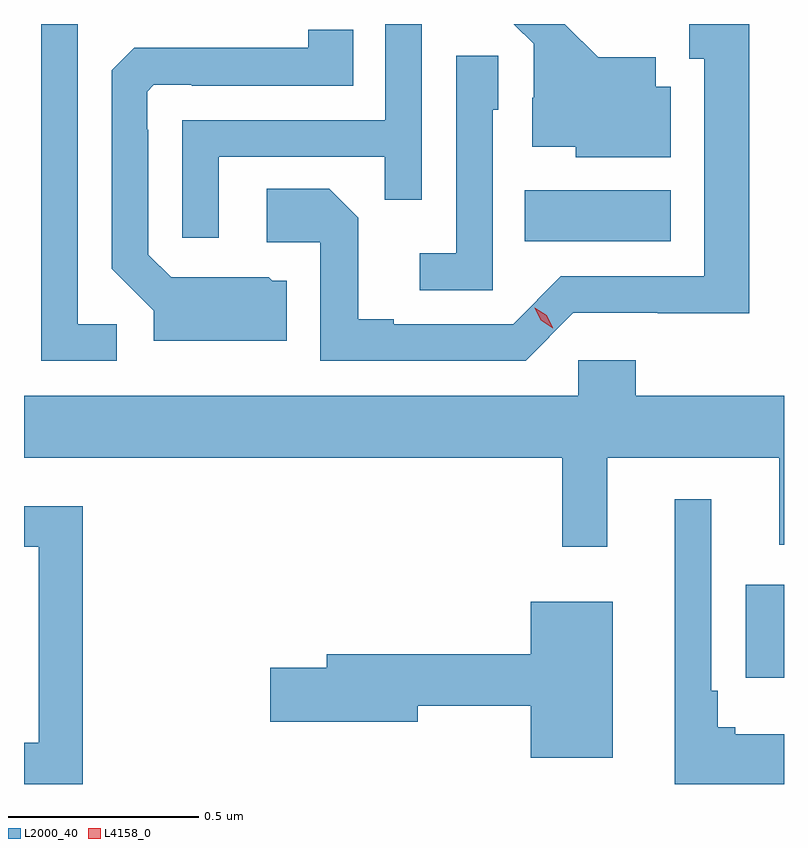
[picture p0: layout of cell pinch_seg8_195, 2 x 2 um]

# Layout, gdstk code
import gdstk
lib = gdstk.Library(unit=1e-6, precision=1e-09)
def R(c, l, rs):  # rectangles x0, y0, x1, y1
    for r in rs: c.add(gdstk.rectangle(r[:2], r[2:], *l))
def P(c, l, *ps):  # polygons
    for p in ps: c.add(gdstk.Polygon(p, *l))
L2000_40 = (2000, 40)
L4158_0 = (4158, 0)

pinch_seg8_195 = lib.new_cell('pinch_seg8_195')
R(pinch_seg8_195, L2000_40, [(638.337,1157.214,638.438,1157.458), (637.756,1158.362,638.14,1158.496)])
P(pinch_seg8_195, L2000_40, [(637.884,1158.174),(638.106,1158.174),(638.106,1158.173),(638.347,1158.173),(638.347,1158.934),(638.189,1158.934),(638.189,1158.843),(638.228,1158.843),(638.228,1158.27),(637.851,1158.27),(637.725,1158.144),(637.411,1158.144),(637.411,1158.157),(637.317,1158.157),(637.317,1158.424),(637.241,1158.5),(637.077,1158.5),(637.077,1158.36),(637.218,1158.36),(637.218,1158.048),(637.758,1158.048)],
  [(636.951,1158.585),(637.387,1158.585),(637.387,1158.472),(637.485,1158.472),(637.485,1158.934),(637.389,1158.934),(637.389,1158.681),(636.855,1158.681),(636.855,1158.372),(636.951,1158.372)],
  [(638.14,1158.769),(638.101,1158.769),(638.101,1158.847),(637.949,1158.847),(637.861,1158.934),(637.727,1158.934),(637.779,1158.882),(637.779,1158.74),(637.775,1158.74),(637.775,1158.611),(637.89,1158.611),(637.89,1158.584),(638.14,1158.584)],
  [(636.682,1158.144),(636.579,1158.144),(636.579,1158.934),(636.483,1158.934),(636.483,1158.048),(636.682,1158.048)],
  [(637.129,1158.259),(637.091,1158.259),(637.082,1158.268),(636.948,1158.268),(636.948,1158.267),(636.825,1158.267),(636.765,1158.327),(636.765,1158.656),(636.762,1158.656),(636.762,1158.756),(636.78,1158.774),(636.88,1158.774),(636.88,1158.771),(637.304,1158.771),(637.304,1158.919),(637.186,1158.919),(637.186,1158.872),(636.829,1158.872),(636.829,1158.871),(636.728,1158.871),(636.669,1158.812),(636.669,1158.29),(636.779,1158.18),(636.779,1158.101),(637.129,1158.101)],
  [(637.671,1158.708),(637.686,1158.708),(637.686,1158.851),(637.575,1158.851),(637.575,1158.331),(637.479,1158.331),(637.479,1158.234),(637.671,1158.234)],
  [(637.973,1157.792),(638.426,1157.792),(638.426,1157.564),(638.438,1157.564),(638.438,1157.956),(638.048,1157.956),(638.048,1158.049),(637.896,1158.049),(637.896,1157.956),(636.438,1157.956),(636.438,1157.792),(637.855,1157.792),(637.855,1157.559),(637.973,1157.559)],
  [(638.438,1157.065),(638.31,1157.065),(638.31,1157.083),(638.264,1157.083),(638.264,1157.179),(638.247,1157.179),(638.247,1157.683),(638.15,1157.683),(638.15,1156.934),(638.438,1156.934)],
  [(636.593,1157.665),(636.438,1157.665),(636.438,1157.559),(636.477,1157.559),(636.477,1157.043),(636.438,1157.043),(636.438,1156.934),(636.593,1156.934)],
  [(637.987,1157.413),(637.772,1157.413),(637.772,1157.276),(637.235,1157.276),(637.235,1157.24),(637.086,1157.24),(637.086,1157.098),(637.474,1157.098),(637.474,1157.14),(637.772,1157.14),(637.772,1157.003),(637.987,1157.003)])
P(pinch_seg8_195, L4158_0, [(637.83,1158.134),(637.798,1158.154),(637.782,1158.187),(637.782,1158.187),(637.782,1158.187),(637.813,1158.168),(637.83,1158.135),(637.83,1158.134)])

lib.write_gds('pinch_seg8_195.gds')
